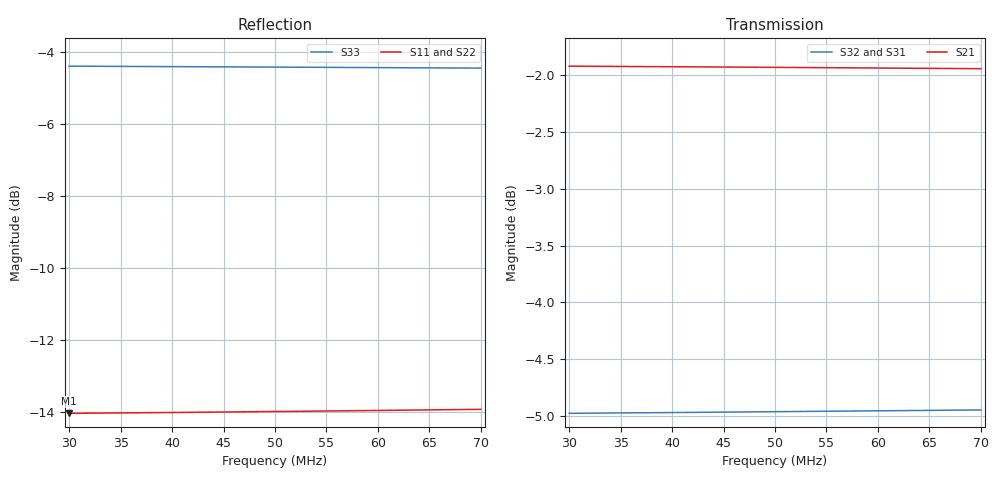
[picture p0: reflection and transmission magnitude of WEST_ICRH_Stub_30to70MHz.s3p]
! Touchstone file exported from HFSS 2020.2.0
!  File:  C:/Users/JH218595/Documents/ICRH/WEST/HFSS_antenna_elements/Bridge_ImpTrasnf_Stub.aedt
!  Generated:  5:40:53  juil. 31, 2020
!  Design:  Stub
!  Project:  Bridge_ImpTrasnf_Stub
!  Setup:  Setup1
!  Solution:  Sweep_operationnal
!Data is not renormalized
# GHZ S MA
! Terminal data exported
! Port[1] = 1
! Port[2] = 2
! Port[3] = 3
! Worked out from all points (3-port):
!   4001 points, 30 MHz to 70 MHz, reference per port
!   strongest paths, dB at 30 MHz, 40 MHz, 50 MHz, 60 MHz, 70 MHz:
!     S21: -1.9, -1.9, -1.9, -1.9, -1.9
!     S32: -5.0, -5.0, -5.0, -5.0, -4.9
!     S31: -5.0, -5.0, -5.0, -5.0, -5.0
!   lowest |S11| = -14.0 dB at 30 MHz (marker M1), VSWR 1.50
!   |S11| at or under -10 dB: start of sweep to end of sweep
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0.03  0.1984 165.2  0.8018 -11.7  0.5636 -32.4
      0.8018 -11.7  0.1982 167.5  0.5637 -31.2
      0.5636 -32.4  0.5637 -31.2  0.6036 127.5
0.03531  0.1987 162.6  0.8016 -13.7  0.5639 -38.1
         0.8016 -13.7  0.1984 165.3  0.5639 -36.7
         0.5639 -38.1  0.5639 -36.7  0.6032 118.1
0.04025  0.1989 160.1  0.8013 -15.7  0.5641 -43.4
         0.8013 -15.7  0.1987 163.2  0.5642 -41.9
         0.5641 -43.4  0.5642 -41.9  0.6027 109.4
0.04515  0.1992 157.7  0.8011 -17.6  0.5643 -48.7
         0.8011 -17.6  0.199 161.1  0.5644 -47.0
         0.5643 -48.7  0.5644 -47.0  0.6023 100.8
0.05  0.1995 155.2  0.8008 -19.4  0.5646 -54.0
      0.8008 -19.4  0.1993 159.1  0.5647 -52.1
      0.5646 -54.0  0.5647 -52.1  0.6018 92.2
0.05245  0.1997 154.0  0.8007 -20.4  0.5647 -56.7
         0.8007 -20.4  0.1995 158.0  0.5648 -54.7
         0.5647 -56.7  0.5648 -54.7  0.6016 87.9
0.0549  0.1999 152.8  0.8006 -21.3  0.5648 -59.3
        0.8006 -21.3  0.1997 157.0  0.5649 -57.2
        0.5648 -59.3  0.5649 -57.2  0.6013 83.5
0.05982  0.2002 150.3  0.8003 -23.2  0.5651 -64.7
         0.8003 -23.2  0.2 154.8  0.5652 -62.4
         0.5651 -64.7  0.5652 -62.4  0.6008 74.8
0.06476  0.2006 147.7  0.8 -25.1  0.5653 -70.0
         0.8 -25.1  0.2004 152.7  0.5654 -67.6
         0.5653 -70.0  0.5654 -67.6  0.6003 66.0
0.07  0.2009 145.1  0.7997 -27.1  0.5656 -75.7
      0.7997 -27.1  0.2008 150.4  0.5657 -73.1
      0.5656 -75.7  0.5657 -73.1  0.5999 56.6
